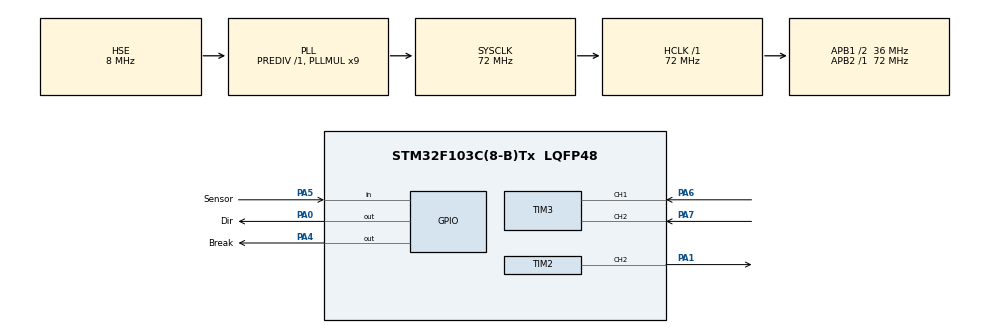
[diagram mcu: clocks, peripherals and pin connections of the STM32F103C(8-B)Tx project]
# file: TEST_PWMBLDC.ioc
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Mcu.Family=STM32F1
Mcu.Name=STM32F103C(8-B)Tx
Mcu.Package=LQFP48
NVIC.PriorityGroup=NVIC_PRIORITYGROUP_4
NVIC.TIM1_UP_IRQn=true\:15\:0\:false\:false\:true\:false\:true\:true
NVIC.TIM3_IRQn=true\:0\:0\:false\:false\:true\:true\:true\:true
NVIC.TIM4_IRQn=true\:0\:0\:false\:false\:true\:true\:true\:true
NVIC.TimeBase=TIM1_UP_IRQn
NVIC.TimeBaseIP=TIM1
PA0-WKUP.GPIO_Label=Dir
PA0-WKUP.Signal=GPIO_Output
PA1.Signal=S_TIM2_CH2
PA13.Mode=Serial_Wire
PA13.Signal=SYS_JTMS-SWDIO
PA14.Mode=Serial_Wire
PA14.Signal=SYS_JTCK-SWCLK
PA4.GPIO_Label=Break
PA4.Signal=GPIO_Output
PA5.GPIO_Label=Sensor
PA5.GPIO_PuPd=GPIO_NOPULL
PA5.Signal=GPIO_Input
PA6.GPIO_PuPd=GPIO_PULLUP
PA6.Signal=S_TIM3_CH1
PA7.GPIO_PuPd=GPIO_PULLUP
PA7.Signal=S_TIM3_CH2
PD0-OSC_IN.Mode=HSE-External-Oscillator
PD0-OSC_IN.Signal=RCC_OSC_IN
PD1-OSC_OUT.Mode=HSE-External-Oscillator
PD1-OSC_OUT.Signal=RCC_OSC_OUT
ProjectManager.HeapSize=0x200
ProjectManager.StackSize=0x400
ProjectManager.TargetToolchain=STM32CubeIDE
RCC.AHBFreq_Value=72000000
RCC.APB1CLKDivider=RCC_HCLK_DIV2
RCC.APB1Freq_Value=36000000
RCC.APB1TimFreq_Value=72000000
RCC.APB2Freq_Value=72000000
RCC.APB2TimFreq_Value=72000000
RCC.HCLKFreq_Value=72000000
RCC.PLLMUL=RCC_PLL_MUL9
RCC.PLLSourceVirtual=RCC_PLLSOURCE_HSE
RCC.SYSCLKFreq_VALUE=72000000
RCC.SYSCLKSource=RCC_SYSCLKSOURCE_PLLCLK
RCC.USBFreq_Value=72000000
SH.S_TIM2_CH2.0=TIM2_CH2,PWM Generation2 CH2
SH.S_TIM3_CH1.0=TIM3_CH1,Encoder_Interface
SH.S_TIM3_CH2.0=TIM3_CH2,Encoder_Interface
TIM2.Channel-PWM\ Generation2\ CH2=TIM_CHANNEL_2
TIM2.Period=999
TIM2.Prescaler=6
TIM3.EncoderMode=TIM_ENCODERMODE_TI12
TIM4.Prescaler=71
VP_SYS_VS_tim1.Mode=TIM1
VP_TIM2_VS_ClockSourceINT.Mode=Internal
VP_TIM4_VS_ClockSourceINT.Mode=Internal
board=custom

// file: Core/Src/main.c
/* USER CODE BEGIN Header */
/**
  ******************************************************************************
  * @file           : main.c
  * @brief          : Main program body
  ******************************************************************************
  * @attention
  *
  * Copyright (c) 2023 STMicroelectronics.
  * All rights reserved.
  *
  * This software is licensed under terms that can be found in the LICENSE file
  * in the root directory of this software component.
  * If no LICENSE file comes with this software, it is provided AS-IS.
  *
  ******************************************************************************
  */
/* USER CODE END Header */
#include "main.h"

/* USER CODE BEGIN PD */
int16_t count, sensor;
int _SoXung, counter, _SoXungTruocDo, _ViTriRobot;
double _VanTocThucTe, _VanTocLoc, _VanTocTruocDo;
double DeltaT = 0.001;

uint8_t DirTest;
uint16_t SpeedTest;
uint8_t breaktest;
/* USER CODE END PD */

TIM_HandleTypeDef htim2;
TIM_HandleTypeDef htim3;
TIM_HandleTypeDef htim4;

/* USER CODE BEGIN PV */
void HAL_TIM_IC_CaptureCallback(TIM_HandleTypeDef *htim) {
	count  = __HAL_TIM_GET_COUNTER(&htim3);
	counter += count;
	TIM3->CNT = 0;
	_SoXung = counter / 4;
}
void ControlBLDC(uint8_t Dir, uint16_t PWM){
	HAL_GPIO_WritePin(Dir_GPIO_Port, Dir_Pin, Dir);
	__HAL_TIM_SET_COMPARE(&htim2, TIM_CHANNEL_2, PWM);
}
/* USER CODE END PV */

void SystemClock_Config(void);
static void MX_GPIO_Init(void);
static void MX_TIM2_Init(void);
static void MX_TIM3_Init(void);
static void MX_TIM4_Init(void);

int main(void)
{

  /* MCU Configuration--------------------------------------------------------*/

  /* Reset of all peripherals, Initializes the Flash interface and the Systick. */
  HAL_Init();

  /* Configure the system clock */
  SystemClock_Config();

  /* Initialize all configured peripherals */
  MX_GPIO_Init();
  MX_TIM2_Init();
  MX_TIM3_Init();
  MX_TIM4_Init();
  /* USER CODE BEGIN 2 */
  HAL_TIM_Encoder_Start_IT(&htim3, TIM_CHANNEL_ALL);
  HAL_TIM_PWM_Start(&htim2, TIM_CHANNEL_2);
  HAL_TIM_Base_Start_IT(&htim3);
  ControlBLDC(0, 0);
  /* USER CODE END 2 */

  /* Infinite loop */
  /* USER CODE BEGIN WHILE */
  while (1)
  {
	  HAL_GPIO_WritePin(Break_GPIO_Port, Break_Pin, 0);
//	  ControlBLDC(1, 1000);
	  sensor = HAL_GPIO_ReadPin(Sensor_GPIO_Port, Sensor_Pin);

    /* USER CODE END WHILE */

  }
}

void SystemClock_Config(void)
{
  RCC_OscInitTypeDef RCC_OscInitStruct = {0};
  RCC_ClkInitTypeDef RCC_ClkInitStruct = {0};

  /** Initializes the RCC Oscillators according to the specified parameters
  * in the RCC_OscInitTypeDef structure.
  */
  RCC_OscInitStruct.OscillatorType = RCC_OSCILLATORTYPE_HSE;
  RCC_OscInitStruct.HSEState = RCC_HSE_ON;
  RCC_OscInitStruct.HSEPredivValue = RCC_HSE_PREDIV_DIV1;
  RCC_OscInitStruct.HSIState = RCC_HSI_ON;
  RCC_OscInitStruct.PLL.PLLState = RCC_PLL_ON;
  RCC_OscInitStruct.PLL.PLLSource = RCC_PLLSOURCE_HSE;
  RCC_OscInitStruct.PLL.PLLMUL = RCC_PLL_MUL9;
  if (HAL_RCC_OscConfig(&RCC_OscInitStruct) != HAL_OK)
  {
    Error_Handler();
  }

  /** Initializes the CPU, AHB and APB buses clocks
  */
  RCC_ClkInitStruct.ClockType = RCC_CLOCKTYPE_HCLK|RCC_CLOCKTYPE_SYSCLK
                              |RCC_CLOCKTYPE_PCLK1|RCC_CLOCKTYPE_PCLK2;
  RCC_ClkInitStruct.SYSCLKSource = RCC_SYSCLKSOURCE_PLLCLK;
  RCC_ClkInitStruct.AHBCLKDivider = RCC_SYSCLK_DIV1;
  RCC_ClkInitStruct.APB1CLKDivider = RCC_HCLK_DIV2;
  RCC_ClkInitStruct.APB2CLKDivider = RCC_HCLK_DIV1;

  if (HAL_RCC_ClockConfig(&RCC_ClkInitStruct, FLASH_LATENCY_2) != HAL_OK)
  {
    Error_Handler();
  }
}

static void MX_TIM2_Init(void)
{

  TIM_ClockConfigTypeDef sClockSourceConfig = {0};
  TIM_MasterConfigTypeDef sMasterConfig = {0};
  TIM_OC_InitTypeDef sConfigOC = {0};

  htim2.Instance = TIM2;
  htim2.Init.Prescaler = 6;
  htim2.Init.CounterMode = TIM_COUNTERMODE_UP;
  htim2.Init.Period = 999;
  htim2.Init.ClockDivision = TIM_CLOCKDIVISION_DIV1;
  htim2.Init.AutoReloadPreload = TIM_AUTORELOAD_PRELOAD_DISABLE;
  if (HAL_TIM_Base_Init(&htim2) != HAL_OK)
  {
    Error_Handler();
  }
  sClockSourceConfig.ClockSource = TIM_CLOCKSOURCE_INTERNAL;
  if (HAL_TIM_ConfigClockSource(&htim2, &sClockSourceConfig) != HAL_OK)
  {
    Error_Handler();
  }
  if (HAL_TIM_PWM_Init(&htim2) != HAL_OK)
  {
    Error_Handler();
  }
  sMasterConfig.MasterOutputTrigger = TIM_TRGO_RESET;
  sMasterConfig.MasterSlaveMode = TIM_MASTERSLAVEMODE_DISABLE;
  if (HAL_TIMEx_MasterConfigSynchronization(&htim2, &sMasterConfig) != HAL_OK)
  {
    Error_Handler();
  }
  sConfigOC.OCMode = TIM_OCMODE_PWM1;
  sConfigOC.Pulse = 0;
  sConfigOC.OCPolarity = TIM_OCPOLARITY_HIGH;
  sConfigOC.OCFastMode = TIM_OCFAST_DISABLE;
  if (HAL_TIM_PWM_ConfigChannel(&htim2, &sConfigOC, TIM_CHANNEL_2) != HAL_OK)
  {
    Error_Handler();
  }
  HAL_TIM_MspPostInit(&htim2);

}

static void MX_TIM3_Init(void)
{

  TIM_Encoder_InitTypeDef sConfig = {0};
  TIM_MasterConfigTypeDef sMasterConfig = {0};

  htim3.Instance = TIM3;
  htim3.Init.Prescaler = 0;
  htim3.Init.CounterMode = TIM_COUNTERMODE_UP;
  htim3.Init.Period = 65535;
  htim3.Init.ClockDivision = TIM_CLOCKDIVISION_DIV1;
  htim3.Init.AutoReloadPreload = TIM_AUTORELOAD_PRELOAD_DISABLE;
  sConfig.EncoderMode = TIM_ENCODERMODE_TI12;
  sConfig.IC1Polarity = TIM_ICPOLARITY_RISING;
  sConfig.IC1Selection = TIM_ICSELECTION_DIRECTTI;
  sConfig.IC1Prescaler = TIM_ICPSC_DIV1;
  sConfig.IC1Filter = 0;
  sConfig.IC2Polarity = TIM_ICPOLARITY_RISING;
  sConfig.IC2Selection = TIM_ICSELECTION_DIRECTTI;
  sConfig.IC2Prescaler = TIM_ICPSC_DIV1;
  sConfig.IC2Filter = 0;
  if (HAL_TIM_Encoder_Init(&htim3, &sConfig) != HAL_OK)
  {
    Error_Handler();
  }
  sMasterConfig.MasterOutputTrigger = TIM_TRGO_RESET;
  sMasterConfig.MasterSlaveMode = TIM_MASTERSLAVEMODE_DISABLE;
  if (HAL_TIMEx_MasterConfigSynchronization(&htim3, &sMasterConfig) != HAL_OK)
  {
    Error_Handler();
  }

}

static void MX_TIM4_Init(void)
{

  TIM_ClockConfigTypeDef sClockSourceConfig = {0};
  TIM_MasterConfigTypeDef sMasterConfig = {0};

  htim4.Instance = TIM4;
  htim4.Init.Prescaler = 71;
  htim4.Init.CounterMode = TIM_COUNTERMODE_UP;
  htim4.Init.Period = 65535;
  htim4.Init.ClockDivision = TIM_CLOCKDIVISION_DIV1;
  htim4.Init.AutoReloadPreload = TIM_AUTORELOAD_PRELOAD_DISABLE;
  if (HAL_TIM_Base_Init(&htim4) != HAL_OK)
  {
    Error_Handler();
  }
  sClockSourceConfig.ClockSource = TIM_CLOCKSOURCE_INTERNAL;
  if (HAL_TIM_ConfigClockSource(&htim4, &sClockSourceConfig) != HAL_OK)
  {
    Error_Handler();
  }
  sMasterConfig.MasterOutputTrigger = TIM_TRGO_RESET;
  sMasterConfig.MasterSlaveMode = TIM_MASTERSLAVEMODE_DISABLE;
  if (HAL_TIMEx_MasterConfigSynchronization(&htim4, &sMasterConfig) != HAL_OK)
  {
    Error_Handler();
  }

}

static void MX_GPIO_Init(void)
{
  GPIO_InitTypeDef GPIO_InitStruct = {0};

  /* GPIO Ports Clock Enable */
  __HAL_RCC_GPIOD_CLK_ENABLE();
  __HAL_RCC_GPIOA_CLK_ENABLE();

  /*Configure GPIO pin Output Level */
  HAL_GPIO_WritePin(GPIOA, Dir_Pin|Break_Pin, GPIO_PIN_RESET);

  /*Configure GPIO pins : Dir_Pin Break_Pin */
  GPIO_InitStruct.Pin = Dir_Pin|Break_Pin;
  GPIO_InitStruct.Mode = GPIO_MODE_OUTPUT_PP;
  GPIO_InitStruct.Pull = GPIO_NOPULL;
  GPIO_InitStruct.Speed = GPIO_SPEED_FREQ_LOW;
  HAL_GPIO_Init(GPIOA, &GPIO_InitStruct);

  /*Configure GPIO pin : Sensor_Pin */
  GPIO_InitStruct.Pin = Sensor_Pin;
  GPIO_InitStruct.Mode = GPIO_MODE_INPUT;
  GPIO_InitStruct.Pull = GPIO_NOPULL;
  HAL_GPIO_Init(Sensor_GPIO_Port, &GPIO_InitStruct);

}

void HAL_TIM_PeriodElapsedCallback(TIM_HandleTypeDef *htim)
{
  if (htim->Instance == TIM1) {
    HAL_IncTick();
  }
  /* USER CODE BEGIN Callback 1 */
  if(htim->Instance == TIM4) {
	_ViTriRobot = _SoXung - _SoXungTruocDo;
	_VanTocThucTe = ((_ViTriRobot/DeltaT)/200)*60; //�?ổi vận tốc qua rpm,(Vận tốc ảo)
	_VanTocLoc = 0.854 * _VanTocLoc + 0.0728 * _VanTocThucTe + 0.0728 * _VanTocTruocDo;//Bo loc van toc thong thap
	_VanTocTruocDo = _VanTocThucTe; //cập nhật biến V1
	_SoXungTruocDo=_SoXung;

  }
  /* USER CODE END Callback 1 */
}

void Error_Handler(void)
{
  __disable_irq();
  while (1)
  {
  }
}
